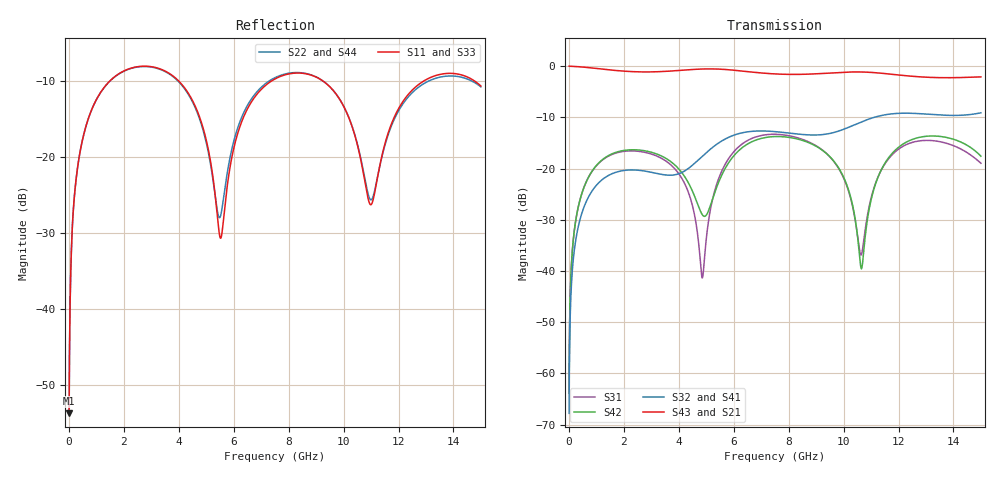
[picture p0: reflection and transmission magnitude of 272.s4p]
! Created with skrf 1.8.0 (http://scikit-rf.org).
# GHz S RI R 50.0
!freq ReS11 ImS11 ReS12 ImS12 ReS13 ImS13
! ReS14 ImS14
! ReS21 ImS21 ReS22 ImS22 ReS23 ImS23
! ReS24 ImS24
! ReS31 ImS31 ReS32 ImS32 ReS33 ImS33
! ReS34 ImS34
! ReS41 ImS41 ReS42 ImS42 ReS43 ImS43
! ReS44 ImS44
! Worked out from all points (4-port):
!   2499 points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, 5 MHz to 15 GHz, reference 50 ohm
!   strongest paths, dB at 5 MHz, 3.476 GHz, 7.19 GHz, 11.1 GHz, 15 GHz:
!     S43: 0.0, -1.0, -1.4, -1.3, -2.1
!     S21: 0.0, -1.0, -1.4, -1.3, -2.1
!     S32: -67.8, -21.2, -12.7, -10.0, -9.1
!     S41: -67.8, -21.3, -12.7, -10.0, -9.2
!     S42: -63.9, -17.9, -13.9, -24.1, -17.6
!     S31: -63.9, -18.4, -13.4, -23.9, -19.0
!   lowest |S11| = -53.8 dB at 5 MHz (marker M1), VSWR 1.00, Z = 50.2 + j0.125 ohm
!   |S11| at or under -10 dB: start of sweep to 1.483 GHz; 3.999 GHz to 7.368 GHz (3.369 GHz wide, 59.3 % of centre); 9.255 GHz to 12.91 GHz (3.657 GHz wide, 33 % of centre) (the widest 3 of 4)
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0.005  0.00163 0.00124  0.9983 -0.00318  8.14e-05 0.000634  -7.92e-05 -0.000399
       0.9983 -0.00318  0.00163 0.00124  -7.92e-05 -0.000399  8.15e-05 0.000634
       8.14e-05 0.000634  -7.92e-05 -0.000399  0.00163 0.00124  0.9983 -0.00318
       -7.92e-05 -0.000399  8.15e-05 0.000634  0.9983 -0.00318  0.00163 0.00124
0.3126303  0.0239 0.0818  0.9675 -0.1978  0.0105 0.0377  -0.00895 -0.0235
           0.9675 -0.1978  0.0238 0.0818  -0.00895 -0.0235  0.011 0.0376
           0.0105 0.0377  -0.00895 -0.0235  0.0239 0.0818  0.9675 -0.1978
           -0.00895 -0.0235  0.011 0.0376  0.9675 -0.1978  0.0238 0.0818
1.519383  0.2643 0.182  0.5657 -0.7205  0.1188 0.0652  -0.0873 -0.00909
          0.5657 -0.7205  0.2624 0.1832  -0.0873 -0.00904  0.1245 0.0577
          0.1188 0.0652  -0.0873 -0.00904  0.2643 0.182  0.5657 -0.7204
          -0.0873 -0.00909  0.1245 0.0577  0.5657 -0.7204  0.2624 0.1832
4.852022  0.0805 -0.141  -0.8412 -0.412  0.00832 0.00193  -0.054 0.1199
          -0.8412 -0.412  0.0878 -0.1306  -0.0533 0.1202  -0.03 -0.0189
          0.00832 0.00193  -0.0533 0.1202  0.0808 -0.1419  -0.8409 -0.4123
          -0.054 0.1199  -0.03 -0.0189  -0.8409 -0.4123  0.0883 -0.1313
8.59108  0.3508 -0.0513  0.0269 0.831  0.166 -0.0895  0.1981 -0.0791
         0.0269 0.831  0.352 -0.0545  0.198 -0.0813  0.1643 -0.0843
         0.166 -0.0895  0.198 -0.0813  0.3478 -0.0511  0.0273 0.8319
         0.1981 -0.0791  0.1643 -0.0843  0.0273 0.8319  0.35 -0.0548
10.64819  0.061 -0.0685  0.8141 0.323  -0.0141 0.00313  0.0984 -0.2676
          0.8141 0.323  0.0648 -0.0681  0.0955 -0.2687  -0.0104 0.00124
          -0.0141 0.00313  0.0955 -0.2687  0.0577 -0.0676  0.8147 0.322
          0.0984 -0.2676  -0.0104 0.00124  0.8147 0.322  0.0661 -0.0657
15  0.2589 -0.1383  -0.3192 -0.7138  0.0035 -0.1125  -0.3065 0.166
    -0.3192 -0.7138  0.2698 -0.1058  -0.3037 0.1731  0.0137 -0.1312
    0.0035 -0.1125  -0.3037 0.1731  0.2535 -0.1279  -0.3235 -0.7148
    -0.3065 0.166  0.0137 -0.1312  -0.3235 -0.7148  0.259 -0.1108
